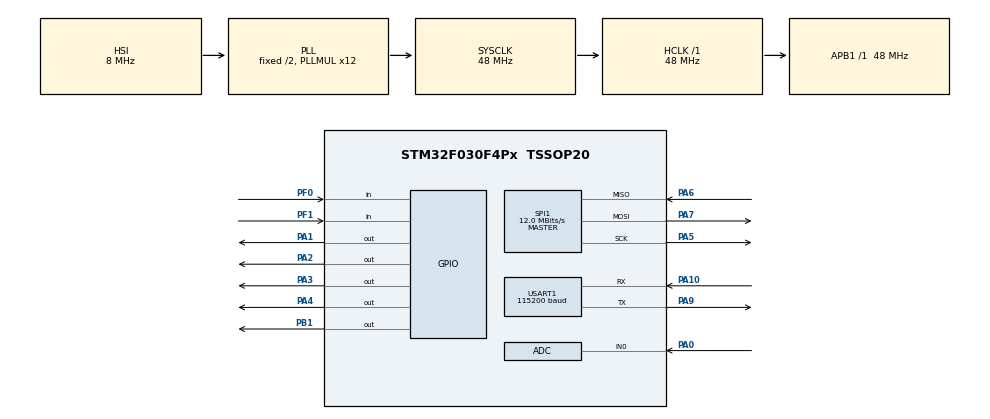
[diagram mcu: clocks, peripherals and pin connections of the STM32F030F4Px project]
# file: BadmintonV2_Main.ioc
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ADC.ClockPrescaler=ADC_CLOCK_SYNC_PCLK_DIV4
ADC.ContinuousConvMode=ENABLE
ADC.Overrun=ADC_OVR_DATA_OVERWRITTEN
ADC.SamplingTime=ADC_SAMPLETIME_13CYCLES_5
Dma.Request0=USART1_RX
Dma.USART1_RX.0.Direction=DMA_PERIPH_TO_MEMORY
Dma.USART1_RX.0.Instance=DMA1_Channel3
Dma.USART1_RX.0.MemDataAlignment=DMA_MDATAALIGN_BYTE
Dma.USART1_RX.0.MemInc=DMA_MINC_ENABLE
Dma.USART1_RX.0.Mode=DMA_CIRCULAR
Dma.USART1_RX.0.PeriphDataAlignment=DMA_PDATAALIGN_BYTE
Dma.USART1_RX.0.PeriphInc=DMA_PINC_DISABLE
Dma.USART1_RX.0.Priority=DMA_PRIORITY_LOW
Mcu.Family=STM32F0
Mcu.Name=STM32F030F4Px
Mcu.Package=TSSOP20
NVIC.ADC1_IRQn=true\:0\:0\:false\:false\:true\:true\:true\:true
NVIC.DMA1_Channel2_3_IRQn=true\:0\:0\:false\:false\:true\:false\:true\:true
NVIC.TIM1_CC_IRQn=true\:0\:0\:false\:false\:true\:true\:true\:true
PA0.Mode=IN0
PA0.Signal=ADC_IN0
PA1.GPIO_ModeDefaultOutputPP=GPIO_MODE_OUTPUT_PP
PA1.GPIO_PuPd=GPIO_PULLUP
PA1.GPIO_Speed=GPIO_SPEED_FREQ_HIGH
PA1.Signal=GPIO_Output
PA10.Mode=Asynchronous
PA10.Signal=USART1_RX
PA13.Mode=Serial_Wire
PA13.Signal=SYS_SWDIO
PA14.Mode=Serial_Wire
PA14.Signal=SYS_SWCLK
PA2.GPIO_PuPd=GPIO_PULLUP
PA2.GPIO_Speed=GPIO_SPEED_FREQ_HIGH
PA2.Signal=GPIO_Output
PA3.GPIO_PuPd=GPIO_PULLUP
PA3.Signal=GPIO_Output
PA4.GPIO_PuPd=GPIO_PULLUP
PA4.Signal=GPIO_Output
PA5.Mode=Full_Duplex_Master
PA5.Signal=SPI1_SCK
PA6.Mode=Full_Duplex_Master
PA6.Signal=SPI1_MISO
PA7.Mode=Full_Duplex_Master
PA7.Signal=SPI1_MOSI
PA9.Mode=Asynchronous
PA9.Signal=USART1_TX
PB1.Signal=GPIO_Output
PF0-OSC_IN.Signal=GPIO_Input
PF1-OSC_OUT.Signal=GPIO_Input
ProjectManager.HeapSize=0x200
ProjectManager.StackSize=0x400
ProjectManager.TargetToolchain=STM32CubeIDE
RCC.AHBFreq_Value=48000000
RCC.APB1Freq_Value=48000000
RCC.APB1TimFreq_Value=48000000
RCC.HCLKFreq_Value=48000000
RCC.PLLMUL=RCC_PLL_MUL12
RCC.SYSCLKFreq_VALUE=48000000
RCC.SYSCLKSource=RCC_SYSCLKSOURCE_PLLCLK
SPI1.BaudRatePrescaler=SPI_BAUDRATEPRESCALER_4
SPI1.CRCCalculation=SPI_CRCCALCULATION_DISABLE
SPI1.CalculateBaudRate=12.0 MBits/s
SPI1.DataSize=SPI_DATASIZE_8BIT
SPI1.Direction=SPI_DIRECTION_2LINES
SPI1.Mode=SPI_MODE_MASTER
SPI1.VirtualType=VM_MASTER
TIM3.Prescaler=47
USART1.BaudRate=115200
USART1.VirtualMode-Asynchronous=VM_ASYNC
VP_TIM1_VS_ClockSourceINT.Mode=Internal
VP_TIM3_VS_ClockSourceINT.Mode=Internal
VP_WWDG_VS_WWDG.Mode=WWDG_Activate
board=custom

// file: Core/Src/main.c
/* USER CODE BEGIN Header */
/**
  ******************************************************************************
  * @file           : main.c
  * @brief          : Main program body
  ******************************************************************************
  * @attention
  *
  * <h2><center>&copy; Copyright (c) 2019 STMicroelectronics.
  * All rights reserved.</center></h2>
  *
  * This software component is licensed by ST under BSD 3-Clause license,
  * the "License"; You may not use this file except in compliance with the
  * License. You may obtain a copy of the License at:
  *                        opensource.org/licenses/BSD-3-Clause
  *
  ******************************************************************************
  */
/* USER CODE END Header */

#include "main.h"

/* USER CODE BEGIN Includes */
#include "OS_Schedule.h"
#include "adc.h"
#include "Uart.h"
#include "LED.h"
#include "LED7.h"
#include "Buzzer.h"
#include "Btn_Mode.h"
#include "Btn_Start.h"
#include "Btn_Train.h"
/* USER CODE END Includes */

ADC_HandleTypeDef hadc;

SPI_HandleTypeDef hspi1;

TIM_HandleTypeDef htim1;
TIM_HandleTypeDef htim3;

UART_HandleTypeDef huart1;
DMA_HandleTypeDef hdma_usart1_rx;

WWDG_HandleTypeDef hwwdg;

void SystemClock_Config(void);
static void MX_GPIO_Init(void);
static void MX_DMA_Init(void);
static void MX_ADC_Init(void);
static void MX_SPI1_Init(void);
static void MX_TIM1_Init(void);
static void MX_USART1_UART_Init(void);
static void MX_TIM3_Init(void);
static void MX_WWDG_Init(void);

int main(void)
{

  /* MCU Configuration--------------------------------------------------------*/

  /* Reset of all peripherals, Initializes the Flash interface and the Systick. */
  HAL_Init();

  /* Configure the system clock */
  SystemClock_Config();

  /* Initialize all configured peripherals */
  MX_GPIO_Init();
  MX_DMA_Init();
  MX_ADC_Init();
  MX_SPI1_Init();
  MX_TIM1_Init();
  MX_TIM3_Init();
  MX_USART1_UART_Init();
  MX_WWDG_Init();
  /* USER CODE BEGIN 2 */
  Uart_Ini();
  LED_Ini();
  LED7_Ini();
  ADC_Ini();
  BtnStart_Ini();
  BtnMode_Ini();
  BtnTrain_Ini();
  Buzzer_Ini();
  OS_Sched_Proc_Ini();
  Uart_SendString("Test LED7");

  Application_Ini();
  /* USER CODE END 2 */

  /* Infinite loop */
  while (1)
  {

    /* USER CODE BEGIN 3 */
	OS_Sched_Proc_10ms();
	OS_Sched_Proc_100ms();
	/*if (HAL_WWDG_Refresh(&hwwdg) != HAL_OK)
	{
	  Error_Handler();
	}*/
  }
  /* USER CODE END 3 */
}

void SystemClock_Config(void)
{
  RCC_OscInitTypeDef RCC_OscInitStruct = {0};
  RCC_ClkInitTypeDef RCC_ClkInitStruct = {0};
  RCC_PeriphCLKInitTypeDef PeriphClkInit = {0};

  /** Initializes the CPU, AHB and APB busses clocks
  */
  RCC_OscInitStruct.OscillatorType = RCC_OSCILLATORTYPE_HSI;
  RCC_OscInitStruct.HSIState = RCC_HSI_ON;
  RCC_OscInitStruct.HSICalibrationValue = RCC_HSICALIBRATION_DEFAULT;
  RCC_OscInitStruct.PLL.PLLState = RCC_PLL_ON;
  RCC_OscInitStruct.PLL.PLLSource = RCC_PLLSOURCE_HSI;
  RCC_OscInitStruct.PLL.PLLMUL = RCC_PLL_MUL12;
  RCC_OscInitStruct.PLL.PREDIV = RCC_PREDIV_DIV1;
  if (HAL_RCC_OscConfig(&RCC_OscInitStruct) != HAL_OK)
  {
    Error_Handler();
  }
  /** Initializes the CPU, AHB and APB busses clocks
  */
  RCC_ClkInitStruct.ClockType = RCC_CLOCKTYPE_HCLK|RCC_CLOCKTYPE_SYSCLK
                              |RCC_CLOCKTYPE_PCLK1;
  RCC_ClkInitStruct.SYSCLKSource = RCC_SYSCLKSOURCE_PLLCLK;
  RCC_ClkInitStruct.AHBCLKDivider = RCC_SYSCLK_DIV1;
  RCC_ClkInitStruct.APB1CLKDivider = RCC_HCLK_DIV1;

  if (HAL_RCC_ClockConfig(&RCC_ClkInitStruct, FLASH_LATENCY_1) != HAL_OK)
  {
    Error_Handler();
  }
  PeriphClkInit.PeriphClockSelection = RCC_PERIPHCLK_USART1;
  PeriphClkInit.Usart1ClockSelection = RCC_USART1CLKSOURCE_PCLK1;
  if (HAL_RCCEx_PeriphCLKConfig(&PeriphClkInit) != HAL_OK)
  {
    Error_Handler();
  }
}

static void MX_ADC_Init(void)
{

  ADC_ChannelConfTypeDef sConfig = {0};

  /** Configure the global features of the ADC (Clock, Resolution, Data Alignment and number of conversion)
  */
  hadc.Instance = ADC1;
  hadc.Init.ClockPrescaler = ADC_CLOCK_SYNC_PCLK_DIV4;
  hadc.Init.Resolution = ADC_RESOLUTION_12B;
  hadc.Init.DataAlign = ADC_DATAALIGN_RIGHT;
  hadc.Init.ScanConvMode = ADC_SCAN_DIRECTION_FORWARD;
  hadc.Init.EOCSelection = ADC_EOC_SINGLE_CONV;
  hadc.Init.LowPowerAutoWait = DISABLE;
  hadc.Init.LowPowerAutoPowerOff = DISABLE;
  hadc.Init.ContinuousConvMode = ENABLE;
  hadc.Init.DiscontinuousConvMode = DISABLE;
  hadc.Init.ExternalTrigConv = ADC_SOFTWARE_START;
  hadc.Init.ExternalTrigConvEdge = ADC_EXTERNALTRIGCONVEDGE_NONE;
  hadc.Init.DMAContinuousRequests = DISABLE;
  hadc.Init.Overrun = ADC_OVR_DATA_OVERWRITTEN;
  if (HAL_ADC_Init(&hadc) != HAL_OK)
  {
    Error_Handler();
  }
  /** Configure for the selected ADC regular channel to be converted.
  */
  sConfig.Channel = ADC_CHANNEL_0;
  sConfig.Rank = ADC_RANK_CHANNEL_NUMBER;
  sConfig.SamplingTime = ADC_SAMPLETIME_13CYCLES_5;
  if (HAL_ADC_ConfigChannel(&hadc, &sConfig) != HAL_OK)
  {
    Error_Handler();
  }
  /* USER CODE BEGIN ADC_Init 2 */
  /* ### - 2 - Start calibration ############################################ */
	if (HAL_ADCEx_Calibration_Start(&hadc) != HAL_OK)
	{
	  Error_Handler();
	}

	/* ### - 4 - Start conversion in DMA mode ################################# */

  /* USER CODE END ADC_Init 2 */

}

static void MX_SPI1_Init(void)
{

  /* SPI1 parameter configuration*/
  hspi1.Instance = SPI1;
  hspi1.Init.Mode = SPI_MODE_MASTER;
  hspi1.Init.Direction = SPI_DIRECTION_2LINES;
  hspi1.Init.DataSize = SPI_DATASIZE_8BIT;
  hspi1.Init.CLKPolarity = SPI_POLARITY_LOW;
  hspi1.Init.CLKPhase = SPI_PHASE_1EDGE;
  hspi1.Init.NSS = SPI_NSS_SOFT;
  hspi1.Init.BaudRatePrescaler = SPI_BAUDRATEPRESCALER_4;
  hspi1.Init.FirstBit = SPI_FIRSTBIT_MSB;
  hspi1.Init.TIMode = SPI_TIMODE_DISABLE;
  hspi1.Init.CRCCalculation = SPI_CRCCALCULATION_DISABLE;
  hspi1.Init.CRCPolynomial = 7;
  hspi1.Init.CRCLength = SPI_CRC_LENGTH_DATASIZE;
  hspi1.Init.NSSPMode = SPI_NSS_PULSE_ENABLE;
  if (HAL_SPI_Init(&hspi1) != HAL_OK)
  {
    Error_Handler();
  }

}

static void MX_TIM1_Init(void)
{

  TIM_ClockConfigTypeDef sClockSourceConfig = {0};
  TIM_MasterConfigTypeDef sMasterConfig = {0};

  htim1.Instance = TIM1;
  htim1.Init.Prescaler = 999;
  htim1.Init.CounterMode = TIM_COUNTERMODE_UP;
  htim1.Init.Period = 0;
  htim1.Init.ClockDivision = TIM_CLOCKDIVISION_DIV1;
  htim1.Init.RepetitionCounter = 0;
  htim1.Init.AutoReloadPreload = TIM_AUTORELOAD_PRELOAD_DISABLE;
  if (HAL_TIM_Base_Init(&htim1) != HAL_OK)
  {
    Error_Handler();
  }
  sClockSourceConfig.ClockSource = TIM_CLOCKSOURCE_INTERNAL;
  if (HAL_TIM_ConfigClockSource(&htim1, &sClockSourceConfig) != HAL_OK)
  {
    Error_Handler();
  }
  sMasterConfig.MasterOutputTrigger = TIM_TRGO_RESET;
  sMasterConfig.MasterSlaveMode = TIM_MASTERSLAVEMODE_DISABLE;
  if (HAL_TIMEx_MasterConfigSynchronization(&htim1, &sMasterConfig) != HAL_OK)
  {
    Error_Handler();
  }

}

static void MX_TIM3_Init(void)
{

  TIM_ClockConfigTypeDef sClockSourceConfig = {0};
  TIM_MasterConfigTypeDef sMasterConfig = {0};

  htim3.Instance = TIM3;
  htim3.Init.Prescaler = 47;
  htim3.Init.CounterMode = TIM_COUNTERMODE_UP;
  htim3.Init.Period = 1000000;
  htim3.Init.ClockDivision = TIM_CLOCKDIVISION_DIV1;
  htim3.Init.AutoReloadPreload = TIM_AUTORELOAD_PRELOAD_DISABLE;
  if (HAL_TIM_Base_Init(&htim3) != HAL_OK)
  {
    Error_Handler();
  }
  sClockSourceConfig.ClockSource = TIM_CLOCKSOURCE_INTERNAL;
  if (HAL_TIM_ConfigClockSource(&htim3, &sClockSourceConfig) != HAL_OK)
  {
    Error_Handler();
  }
  sMasterConfig.MasterOutputTrigger = TIM_TRGO_RESET;
  sMasterConfig.MasterSlaveMode = TIM_MASTERSLAVEMODE_DISABLE;
  if (HAL_TIMEx_MasterConfigSynchronization(&htim3, &sMasterConfig) != HAL_OK)
  {
    Error_Handler();
  }

}

static void MX_USART1_UART_Init(void)
{

  huart1.Instance = USART1;
  huart1.Init.BaudRate = 115200;
  huart1.Init.WordLength = UART_WORDLENGTH_8B;
  huart1.Init.StopBits = UART_STOPBITS_1;
  huart1.Init.Parity = UART_PARITY_NONE;
  huart1.Init.Mode = UART_MODE_TX_RX;
  huart1.Init.HwFlowCtl = UART_HWCONTROL_NONE;
  huart1.Init.OverSampling = UART_OVERSAMPLING_16;
  huart1.Init.OneBitSampling = UART_ONE_BIT_SAMPLE_DISABLE;
  huart1.AdvancedInit.AdvFeatureInit = UART_ADVFEATURE_NO_INIT;
  if (HAL_UART_Init(&huart1) != HAL_OK)
  {
    Error_Handler();
  }

}

static void MX_WWDG_Init(void)
{

  hwwdg.Instance = WWDG;
  hwwdg.Init.Prescaler = WWDG_PRESCALER_1;
  hwwdg.Init.Window = 64;
  hwwdg.Init.Counter = 64;
  hwwdg.Init.EWIMode = WWDG_EWI_DISABLE;
  if (HAL_WWDG_Init(&hwwdg) != HAL_OK)
  {
    Error_Handler();
  }

}

static void MX_DMA_Init(void)
{
  /* DMA controller clock enable */
  __HAL_RCC_DMA1_CLK_ENABLE();

  /* DMA interrupt init */
  /* DMA1_Channel2_3_IRQn interrupt configuration */
  HAL_NVIC_SetPriority(DMA1_Channel2_3_IRQn, 0, 0);
  HAL_NVIC_EnableIRQ(DMA1_Channel2_3_IRQn);

}

static void MX_GPIO_Init(void)
{
  GPIO_InitTypeDef GPIO_InitStruct = {0};

  /* GPIO Ports Clock Enable */
  __HAL_RCC_GPIOF_CLK_ENABLE();
  __HAL_RCC_GPIOA_CLK_ENABLE();
  __HAL_RCC_GPIOB_CLK_ENABLE();

  /*Configure GPIO pin Output Level */
  HAL_GPIO_WritePin(GPIOA, GPIO_PIN_1|GPIO_PIN_2|GPIO_PIN_3|GPIO_PIN_4, GPIO_PIN_RESET);

  /*Configure GPIO pin Output Level */
  HAL_GPIO_WritePin(GPIOB, GPIO_PIN_1, GPIO_PIN_RESET);

  /*Configure GPIO pins : PF0 PF1 */
  GPIO_InitStruct.Pin = GPIO_PIN_0|GPIO_PIN_1;
  GPIO_InitStruct.Mode = GPIO_MODE_INPUT;
  GPIO_InitStruct.Pull = GPIO_NOPULL;
  HAL_GPIO_Init(GPIOF, &GPIO_InitStruct);

  /*Configure GPIO pins : PA1 PA2 */
  GPIO_InitStruct.Pin = GPIO_PIN_1|GPIO_PIN_2;
  GPIO_InitStruct.Mode = GPIO_MODE_OUTPUT_PP;
  GPIO_InitStruct.Pull = GPIO_PULLUP;
  GPIO_InitStruct.Speed = GPIO_SPEED_FREQ_HIGH;
  HAL_GPIO_Init(GPIOA, &GPIO_InitStruct);

  /*Configure GPIO pins : PA3 PA4 */
  GPIO_InitStruct.Pin = GPIO_PIN_3|GPIO_PIN_4;
  GPIO_InitStruct.Mode = GPIO_MODE_OUTPUT_PP;
  GPIO_InitStruct.Pull = GPIO_PULLUP;
  GPIO_InitStruct.Speed = GPIO_SPEED_FREQ_LOW;
  HAL_GPIO_Init(GPIOA, &GPIO_InitStruct);

  /*Configure GPIO pin : PB1 */
  GPIO_InitStruct.Pin = GPIO_PIN_1;
  GPIO_InitStruct.Mode = GPIO_MODE_OUTPUT_PP;
  GPIO_InitStruct.Pull = GPIO_NOPULL;
  GPIO_InitStruct.Speed = GPIO_SPEED_FREQ_LOW;
  HAL_GPIO_Init(GPIOB, &GPIO_InitStruct);

}

void Error_Handler(void)
{
  /* USER CODE BEGIN Error_Handler_Debug */
	//Uart_SendString("Error Handler\r\n");
  /* User can add his own implementation to report the HAL error return state */
	while(1);
  /* USER CODE END Error_Handler_Debug */
}

/************************ (C) COPYRIGHT STMicroelectronics *****END OF FILE****/
